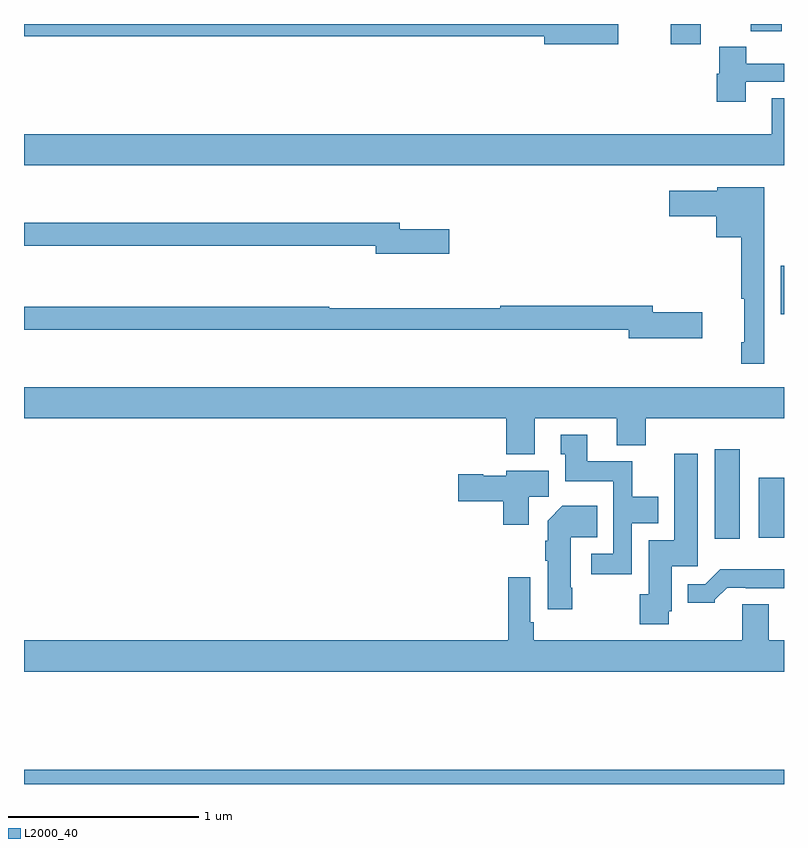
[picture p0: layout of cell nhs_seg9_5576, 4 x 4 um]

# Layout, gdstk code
import gdstk
lib = gdstk.Library(unit=1e-6, precision=1e-09)
def R(c, l, rs):  # rectangles x0, y0, x1, y1
    for r in rs: c.add(gdstk.rectangle(r[:2], r[2:], *l))
def P(c, l, *ps):  # polygons
    for p in ps: c.add(gdstk.Polygon(p, *l))
L2000_40 = (2000, 40)

nhs_seg9_5576 = lib.new_cell('nhs_seg9_5576')
R(nhs_seg9_5576, L2000_40, [(435,1190.5,439,1190.576), (438.635,1191.792,438.766,1192.261), (438.866,1191.797,439,1192.111), (438.983,1192.973,439,1193.227), (438.404,1194.393,438.562,1194.5), (438.826,1194.461,438.988,1194.5)])
P(nhs_seg9_5576, L2000_40, [(438.127,1194.5),(435,1194.5),(435,1194.436),(437.738,1194.436),(437.738,1194.394),(438.127,1194.394)],
  [(438.799,1194.195),(439,1194.195),(439,1194.292),(438.802,1194.292),(438.802,1194.379),(438.659,1194.379),(438.659,1194.237),(438.647,1194.237),(438.647,1194.09),(438.799,1194.09)],
  [(439,1194.11),(438.935,1194.11),(438.935,1193.92),(435,1193.92),(435,1193.756),(439,1193.756)],
  [(438.895,1193.641),(438.648,1193.641),(438.648,1193.623),(438.396,1193.623),(438.396,1193.489),(438.644,1193.489),(438.644,1193.378),(438.774,1193.378),(438.774,1193.054),(438.791,1193.054),(438.791,1192.825),(438.774,1192.825),(438.774,1192.713),(438.895,1192.713)],
  [(437.239,1193.421),(436.978,1193.421),(436.978,1193.455),(435,1193.455),(435,1193.334),(436.85,1193.334),(436.85,1193.291),(437.239,1193.291)],
  [(438.571,1192.982),(438.31,1192.982),(438.31,1193.018),(437.506,1193.018),(437.506,1193.003),(436.606,1193.003),(436.606,1193.011),(435,1193.011),(435,1192.89),(438.182,1192.89),(438.182,1192.847),(438.571,1192.847)],
  [(437.689,1192.424),(438.119,1192.424),(438.119,1192.283),(438.272,1192.283),(438.272,1192.424),(439,1192.424),(439,1192.588),(435,1192.588),(435,1192.424),(437.537,1192.424),(437.537,1192.235),(437.689,1192.235)],
  [(438.198,1191.872),(438.337,1191.872),(438.337,1192.012),(438.201,1192.012),(438.201,1192.198),(437.965,1192.198),(437.965,1192.339),(437.825,1192.339),(437.825,1192.236),(437.849,1192.236),(437.849,1192.094),(438.102,1192.094),(438.102,1191.711),(437.985,1191.711),(437.985,1191.603),(438.198,1191.603)],
  [(438.393,1191.408),(438.409,1191.408),(438.409,1191.645),(438.547,1191.645),(438.547,1192.237),(438.422,1192.237),(438.422,1191.784),(438.287,1191.784),(438.287,1191.498),(438.241,1191.498),(438.241,1191.342),(438.393,1191.342)],
  [(437.656,1192.012),(437.761,1192.012),(437.761,1192.15),(437.538,1192.15),(437.538,1192.123),(437.418,1192.123),(437.418,1192.131),(437.286,1192.131),(437.286,1191.989),(437.522,1191.989),(437.522,1191.864),(437.656,1191.864)],
  [(437.886,1191.532),(437.878,1191.532),(437.878,1191.8),(438.017,1191.8),(438.017,1191.964),(437.834,1191.964),(437.756,1191.886),(437.756,1191.779),(437.744,1191.779),(437.744,1191.676),(437.756,1191.676),(437.756,1191.42),(437.886,1191.42)],
  [(438.636,1191.47),(438.7,1191.534),(438.799,1191.534),(438.799,1191.531),(439,1191.531),(439,1191.631),(438.664,1191.631),(438.585,1191.552),(438.494,1191.552),(438.494,1191.455),(438.636,1191.455)],
  [(439,1191.256),(438.919,1191.256),(438.919,1191.446),(438.779,1191.446),(438.779,1191.256),(437.684,1191.256),(437.684,1191.352),(437.664,1191.352),(437.664,1191.589),(437.548,1191.589),(437.548,1191.256),(435,1191.256),(435,1191.092),(439,1191.092)])

lib.write_gds('nhs_seg9_5576.gds')
